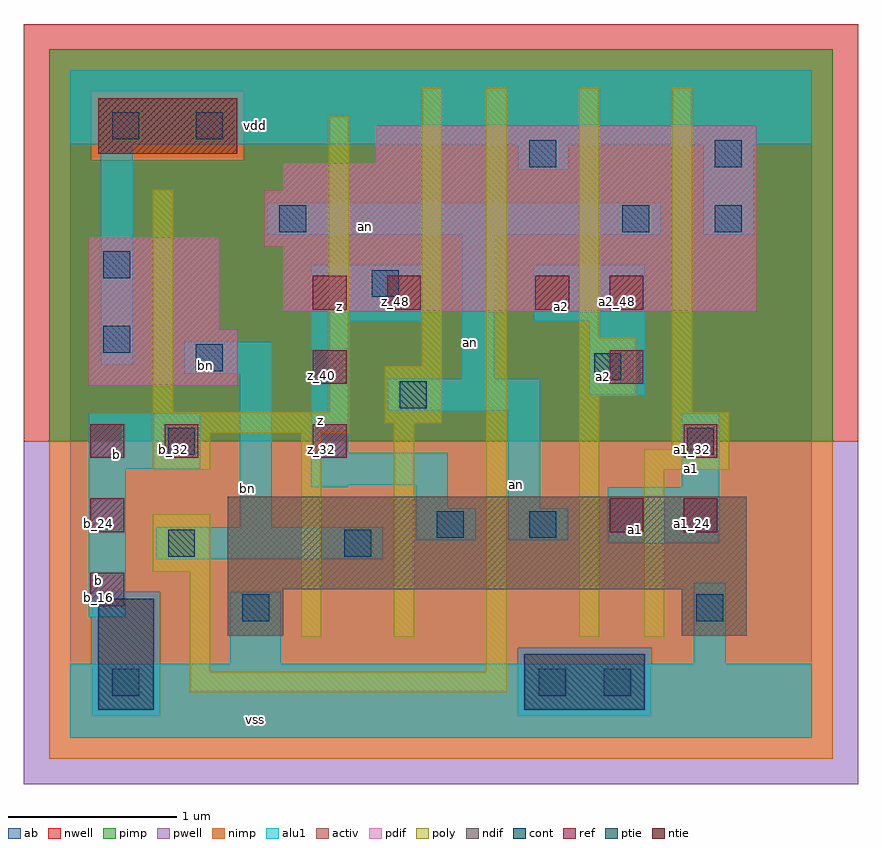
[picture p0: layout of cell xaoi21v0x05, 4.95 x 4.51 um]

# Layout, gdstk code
import gdstk
lib = gdstk.Library(unit=1e-6, precision=2.5e-09)
def R(c, l, rs):  # rectangles x0, y0, x1, y1
    for r in rs: c.add(gdstk.rectangle(r[:2], r[2:], *l))
def A(c, l, x, y, w, h, nx, ny, dx, dy):  # array of equal rectangles
    R(c, l, [(x+i*dx, y+j*dy, x+i*dx+w, y+j*dy+h) for i in range(nx) for j in range(ny)])
ndif = (3, 0)
pdif = (4, 0)
ntie = (5, 0)
ptie = (6, 0)
ref = (24, 0)
cont = (25, 0)
pwell = (41, 0)
nwell = (42, 0)
activ = (43, 0)
pimp = (44, 0)
nimp = (45, 0)
poly = (46, 0)
alu1 = (49, 0)
ab = (63, 0)

xaoi21v0x05 = lib.new_cell('xaoi21v0x05')
R(xaoi21v0x05, ndif, [(0.935,0.605,1.265,0.88), (3.63,0.605,4.015,0.88), (0.935,0.88,4.015,1.43)])
R(xaoi21v0x05, pdif, [(0.11,2.09,0.99,2.42), (0.11,2.42,0.88,2.97), (1.265,2.53,4.07,2.915), (1.155,2.915,4.07,3.245), (1.265,3.245,4.07,3.41), (1.815,3.41,4.07,3.63)])
R(xaoi21v0x05, ntie, [(0.165,3.465,0.99,3.795)])
R(xaoi21v0x05, ptie, [(0.165,0.165,0.495,0.825), (2.695,0.165,3.41,0.495)])
A(xaoi21v0x05, ref, 0.12, 0.78, 0.2, 0.2, 1, 3, 0, 0.44)
A(xaoi21v0x05, ref, 1.44, 1.66, 0.2, 0.2, 1, 3, 0, 0.44)
R(xaoi21v0x05, ref, [(3.2,1.22,3.4,1.42), (3.64,1.22,3.84,1.42), (0.56,1.66,0.76,1.86), (3.64,1.66,3.84,1.86), (3.2,2.1,3.4,2.3), (1.88,2.54,2.08,2.74), (2.76,2.54,2.96,2.74), (3.2,2.54,3.4,2.74)])
R(xaoi21v0x05, cont, [(0.25,0.25,0.41,0.41), (2.78,0.25,2.94,0.41), (3.165,0.25,3.325,0.41), (1.02,0.69,1.18,0.85), (3.715,0.69,3.875,0.85), (0.58,1.075,0.74,1.235), (1.625,1.075,1.785,1.235), (2.175,1.185,2.335,1.345), (2.725,1.185,2.885,1.345), (0.58,1.68,0.74,1.84), (3.66,1.68,3.82,1.84), (1.955,1.955,2.115,2.115), (3.11,2.12,3.27,2.28), (0.745,2.175,0.905,2.335), (0.195,2.285,0.355,2.445), (1.79,2.615,1.95,2.775), (0.195,2.725,0.355,2.885), (1.24,3,1.4,3.16), (3.275,3,3.435,3.16), (3.825,3,3.985,3.16), (2.725,3.385,2.885,3.545), (3.825,3.385,3.985,3.545), (0.25,3.55,0.41,3.71), (0.745,3.55,0.905,3.71)])
R(xaoi21v0x05, pwell, [(-0.275,-0.275,4.675,1.76)])
R(xaoi21v0x05, nwell, [(-0.275,1.76,4.675,4.235)])
R(xaoi21v0x05, activ, [(0.165,0.165,0.495,0.825), (2.695,0.165,3.41,0.495), (0.935,0.605,1.265,0.88), (3.63,0.605,4.015,0.88), (0.935,0.88,4.015,1.43), (0.11,2.09,0.99,2.42), (0.11,2.42,0.88,2.97), (1.265,2.53,4.07,2.915), (1.155,2.915,4.07,3.245), (1.265,3.245,4.07,3.41), (1.815,3.41,4.07,3.63), (0.165,3.465,0.99,3.795)])
R(xaoi21v0x05, pimp, [(0.125,0.125,0.535,0.865), (2.655,0.125,3.45,0.535), (-0.125,1.76,4.525,3.425), (-0.125,3.425,0.125,3.835), (1.03,3.425,4.525,3.835), (-0.125,3.835,4.525,4.085)])
R(xaoi21v0x05, nimp, [(-0.125,-0.125,4.525,0.125), (-0.125,0.125,0.125,0.865), (0.535,0.125,2.655,0.535), (3.45,0.125,4.525,0.535), (0.535,0.535,4.525,0.865), (-0.125,0.865,4.525,1.76), (0.125,3.425,1.03,3.835)])
R(xaoi21v0x05, poly, [(0.71,0.27,2.59,0.39), (0.71,0.39,0.83,0.985), (2.47,0.39,2.59,3.855), (1.37,0.6,1.49,1.81), (1.92,0.6,2.04,1.865), (3.02,0.6,3.14,2.03), (3.405,0.6,3.525,1.59), (0.49,0.985,0.83,1.325), (0.49,1.59,0.83,1.81), (3.405,1.59,3.91,1.71), (3.57,1.71,3.91,1.93), (0.49,1.81,1.655,1.93), (1.865,1.865,2.205,2.205), (0.49,1.93,0.61,3.25), (1.535,1.93,1.655,3.69), (3.57,1.93,3.69,3.855), (3.02,2.03,3.36,2.37), (2.085,2.205,2.205,3.855), (3.02,2.37,3.14,3.855)])
R(xaoi21v0x05, alu1, [(0,0,4.4,0.44), (0.95,0.44,1.25,0.865), (3.7,0.44,3.89,0.92), (0.11,0.715,0.33,1.595), (0.51,1.06,1.855,1.25), (3.19,1.155,3.85,1.485), (2.05,1.17,2.405,1.36), (2.6,1.17,2.955,1.36), (1.005,1.25,1.195,2.16), (2.05,1.36,2.24,1.5), (2.6,1.36,2.79,1.94), (1.43,1.485,1.65,1.5), (3.63,1.485,3.85,1.925), (1.43,1.5,2.24,1.69), (0.11,1.595,0.77,1.925), (1.43,1.69,1.65,2.475), (1.885,1.94,2.79,2.13), (3.08,2.035,3.41,2.475), (2.325,2.13,2.515,2.985), (0.675,2.16,1.195,2.35), (0.18,2.215,0.37,3.52), (1.43,2.475,2.09,2.805), (2.75,2.475,3.41,2.805), (1.17,2.985,3.505,3.175), (3.755,2.985,4.055,3.52), (2.655,3.37,2.955,3.52), (0,3.52,4.4,3.96)])
R(xaoi21v0x05, ab, [(0,0,4.4,3.96)])
xaoi21v0x05.add(gdstk.Label('vss', (1.1,0.11), layer=49, texttype=0))
xaoi21v0x05.add(gdstk.Label('a1', (3.355,1.2375), layer=49, texttype=0))
xaoi21v0x05.add(gdstk.Label('a1', (3.685,1.595), layer=49, texttype=0))
xaoi21v0x05.add(gdstk.Label('an', (2.6475,1.505), layer=49, texttype=0))
xaoi21v0x05.add(gdstk.Label('a2', (3.1625,2.145), layer=49, texttype=0))
xaoi21v0x05.add(gdstk.Label('a2', (2.915,2.5575), layer=49, texttype=0))
xaoi21v0x05.add(gdstk.Label('an', (2.3725,2.3425), layer=49, texttype=0))
xaoi21v0x05.add(gdstk.Label('z', (1.485,1.885), layer=49, texttype=0))
xaoi21v0x05.add(gdstk.Label('bn', (1.0525,1.4775), layer=49, texttype=0))
xaoi21v0x05.add(gdstk.Label('b', (0.165,0.935), layer=49, texttype=0))
xaoi21v0x05.add(gdstk.Label('b', (0.275,1.6775), layer=49, texttype=0))
xaoi21v0x05.add(gdstk.Label('bn', (0.805,2.2075), layer=49, texttype=0))
xaoi21v0x05.add(gdstk.Label('z', (1.595,2.5575), layer=49, texttype=0))
xaoi21v0x05.add(gdstk.Label('an', (1.7525,3.0325), layer=49, texttype=0))
xaoi21v0x05.add(gdstk.Label('vdd', (1.1,3.63), layer=49, texttype=0))
xaoi21v0x05.add(gdstk.Label('b_32', (0.61,1.71), layer=24, texttype=0))
xaoi21v0x05.add(gdstk.Label('z_32', (1.49,1.71), layer=24, texttype=0))
xaoi21v0x05.add(gdstk.Label('z_40', (1.49,2.15), layer=24, texttype=0))
xaoi21v0x05.add(gdstk.Label('z_48', (1.49,2.59), layer=24, texttype=0))
xaoi21v0x05.add(gdstk.Label('z_48', (1.93,2.59), layer=24, texttype=0))
xaoi21v0x05.add(gdstk.Label('b_16', (0.17,0.83), layer=24, texttype=0))
xaoi21v0x05.add(gdstk.Label('b_24', (0.17,1.27), layer=24, texttype=0))
xaoi21v0x05.add(gdstk.Label('b_32', (0.17,1.71), layer=24, texttype=0))
xaoi21v0x05.add(gdstk.Label('a2_48', (2.81,2.59), layer=24, texttype=0))
xaoi21v0x05.add(gdstk.Label('a1_24', (3.25,1.27), layer=24, texttype=0))
xaoi21v0x05.add(gdstk.Label('a2_40', (3.25,2.15), layer=24, texttype=0))
xaoi21v0x05.add(gdstk.Label('a2_48', (3.25,2.59), layer=24, texttype=0))
xaoi21v0x05.add(gdstk.Label('a1_24', (3.69,1.27), layer=24, texttype=0))
xaoi21v0x05.add(gdstk.Label('a1_32', (3.69,1.71), layer=24, texttype=0))

lib.write_gds('xaoi21v0x05.gds')
